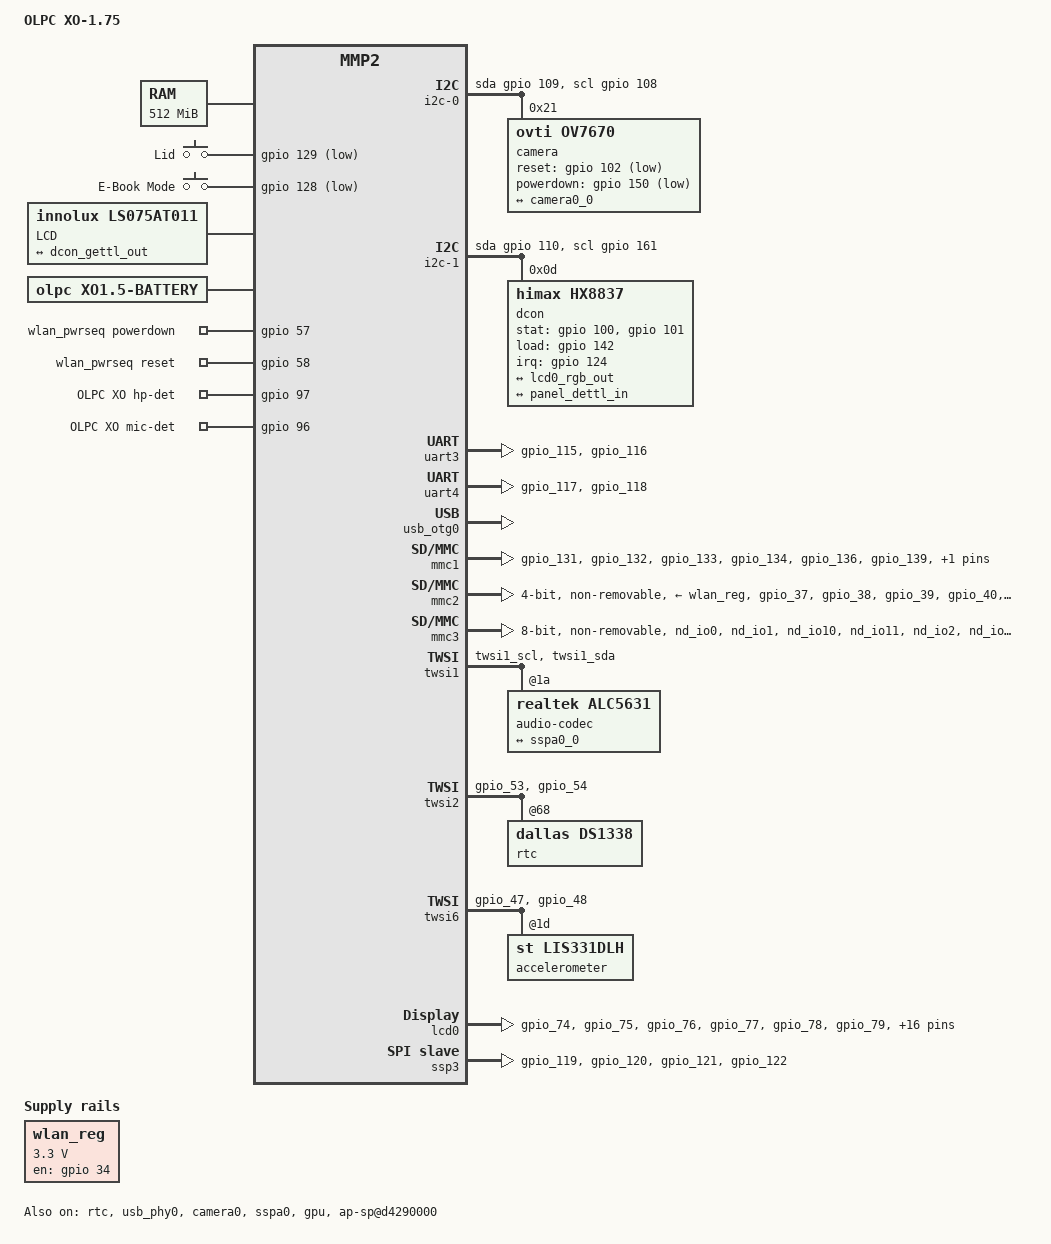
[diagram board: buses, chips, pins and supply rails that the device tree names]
// SPDX-License-Identifier: GPL-2.0-or-later OR MIT
/*
 * OLPC XO 1.75 Laptop.
 *
 * Copyright (C) 2018,2019,2020 Lubomir Rintel <lkundrak@v3.sk>
 */

/dts-v1/;
#include "mmp2.dtsi"
#include <dt-bindings/gpio/gpio.h>
#include <dt-bindings/input/linux-event-codes.h>
#include <dt-bindings/interrupt-controller/irq.h>
#include <dt-bindings/clock/marvell,mmp2-audio.h>

/ {
	model = "OLPC XO-1.75";
	compatible = "olpc,xo-1.75", "mrvl,mmp2";

	chosen {
		#address-cells = <1>;
		#size-cells = <1>;
		ranges;
		bootargs = "console=tty0 earlyprintk=ttyS2,115200,keep console=ttyS2,115200 root=/dev/sda3 fbcon=nodefer rootwait   lockless_register_fb no_console_suspend ignore_loglevel  pm_debug_messages";

		framebuffer@1fc00000 {
			compatible = "simple-framebuffer";
			reg = <0x1fc00000 (1200 * 900 * 2)>;
			width = <1200>;
			height = <900>;
			stride = <(1200 * 2)>;
			format = "r5g6b5";
			display = <&lcd0>;
			clocks = <&soc_clocks MMP2_CLK_DISP0_LCDC>,
				 <&soc_clocks MMP2_CLK_DISP0>;
		};
	};

	memory@0 {
		available = <0xcf000 0x1ef31000 0x1000 0xbf000>;
		reg = <0x0 0x20000000>;
		device_type = "memory";
	};

	gpio-keys {
		compatible = "gpio-keys";

		lid {
			label = "Lid";
			gpios = <&gpio 129 GPIO_ACTIVE_LOW>;
			linux,input-type = <EV_SW>;
			linux,code = <SW_LID>;
			wakeup-source;
		};

		tablet_mode {
			label = "E-Book Mode";
			gpios = <&gpio 128 GPIO_ACTIVE_LOW>;
			linux,input-type = <EV_SW>;
			linux,code = <SW_TABLET_MODE>;
			wakeup-source;
		};
	};

	i2c-0 {
		compatible = "i2c-gpio";
		sda-gpios = <&gpio 109 (GPIO_ACTIVE_HIGH | GPIO_OPEN_DRAIN)>;
		scl-gpios = <&gpio 108 (GPIO_ACTIVE_HIGH | GPIO_OPEN_DRAIN)>;
		#address-cells = <1>;
		#size-cells = <0>;
		i2c-gpio,timeout-ms = <1000>;
		status = "okay";

		camera@21 {
			compatible = "ovti,ov7670";
			reg = <0x21>;
			reset-gpios = <&gpio 102 GPIO_ACTIVE_LOW>;
			powerdown-gpios = <&gpio 150 GPIO_ACTIVE_LOW>;
			clocks = <&camera0>;
			clock-names = "xclk";

			port {
				ov7670_0: endpoint {
					hsync-active = <1>;
					vsync-active = <1>;
					remote-endpoint = <&camera0_0>;
				};
			};
		};
	};

	i2c-1 {
		compatible = "i2c-gpio";
		sda-gpios = <&gpio 110 (GPIO_ACTIVE_HIGH | GPIO_OPEN_DRAIN)>;
		scl-gpios = <&gpio 161 (GPIO_ACTIVE_HIGH | GPIO_OPEN_DRAIN)>;
		#address-cells = <1>;
		#size-cells = <0>;
		i2c-gpio,timeout-ms = <1000>;
		status = "okay";

		dcon@d {
			compatible = "himax,hx8837";
			stat-gpios = <&gpio 100 GPIO_ACTIVE_HIGH>,
				     <&gpio 101 GPIO_ACTIVE_HIGH>;
			load-gpio = <&gpio 142 GPIO_ACTIVE_HIGH>;
			interrupt-parent= <&gpio>;
			interrupts = <124 IRQ_TYPE_EDGE_FALLING>;
			reg = <0x0d>;
			status = "okay";

			ports {
				#address-cells = <1>;
				#size-cells = <0>;

				port@0 {
					reg = <0>;
					dcon_rgb_in: endpoint {
						remote-endpoint = <&lcd0_rgb_out>;
					};
				};

				port@1 {
					reg = <1>;
					dcon_gettl_out: endpoint {
						remote-endpoint = <&panel_dettl_in>;
					};
				};
			};
		};
	};

	panel {
		compatible = "innolux,ls075at011", "panel-dpi", "simple-panel";
		width-mm = <152>;
		height-mm = <115>;
		label = "LCD";

		panel-timing {
			clock-frequency = <56000000 57000000 58000000>;
			hactive = <1200>;
			vactive = <900>;
			hfront-porch = <26>;
			hback-porch = <24>;
			hsync-len = <6>;
			vfront-porch = <4>;
			vback-porch = <5>;
			vsync-len = <3>;
		};

		port {
			panel_dettl_in: endpoint {
				remote-endpoint = <&dcon_gettl_out>;
			};
		};
	};

	battery {
		compatible = "olpc,xo1.5-battery", "olpc,xo1-battery";
	};

	wlan_reg: fixedregulator0 {
		compatible = "regulator-fixed";
		regulator-name = "wlan";
		regulator-min-microvolt = <3300000>;
		regulator-max-microvolt = <3300000>;
		gpio = <&gpio 34 GPIO_ACTIVE_HIGH>;
		enable-active-high;
	};

	wlan_pwrseq: pwrseq0 {
		compatible = "mmc-pwrseq-sd8787";
		powerdown-gpios = <&gpio 57 GPIO_ACTIVE_HIGH>;
		reset-gpios = <&gpio 58 GPIO_ACTIVE_HIGH>;
	};

	sound-card {
		compatible = "audio-graph-card";
		label = "OLPC XO";
		dais = <&sspa0_dai>;
		routing = "Headphones", "HPOL",
			  "Headphones", "HPOR",
			  "MIC2", "Mic Jack";
		widgets = "Headphone", "Headphones", "Microphone", "Mic Jack";
		hp-det-gpio = <&gpio 97 GPIO_ACTIVE_HIGH>;
		mic-det-gpio = <&gpio 96 GPIO_ACTIVE_HIGH>;
	};

	soc {
		axi@d4200000 {
			ap-sp@d4290000 {
				#address-cells = <1>;
				#size-cells = <0>;
				compatible = "olpc,ap-sp";
				interrupts = <40>;
				reg = <0xd4290000 0x1000>;
				data-gpios = <&gpio 72 GPIO_ACTIVE_HIGH>;
				clk-gpios = <&gpio 71 GPIO_ACTIVE_HIGH>;
				status = "okay";
			};
		};
	};

	reserved-memory {
		#address-cells = <1>;
		#size-cells = <1>;
		ranges;

		display_reserved: framebuffer {
			compatible = "marvell,mmp2-framebuffer",
				     "marvell,armada-framebuffer";
			size = <0x02000000>;
			alignment = <0x02000000>;
			no-map;
		};
	};
};

&uart3 {
	status = "okay";
	pinctrl-names = "default";
	pinctrl-0 = <&uart3_pins>;
};

&uart4 {
	status = "okay";
	pinctrl-names = "default";
	pinctrl-0 = <&uart4_pins>;
};

&rtc {
	status = "okay";
};

&usb_phy0 {
	status = "okay";
};

&usb_otg0 {
	status = "okay";
};

&mmc1 {
	status = "okay";
	pinctrl-names = "default";
	pinctrl-0 = <&mmc1_pins>;
	clock-frequency = <50000000>;
	no-1-8-v;
	mrvl,clk-delay-cycles = <31>;
	broken-cd;
};

&mmc2 {
	status = "okay";
	pinctrl-names = "default";
	pinctrl-0 = <&mmc2_pins>;
	clock-frequency = <50000000>;
	no-1-8-v;
	bus-width = <4>;
	non-removable;
	broken-cd;
	wakeup-source;
	keep-power-in-suspend;
	mmc-pwrseq = <&wlan_pwrseq>;
	vmmc-supply = <&wlan_reg>;
};

&mmc3 {
	status = "okay";
	pinctrl-names = "default";
	pinctrl-0 = <&mmc3_pins>;
	clock-frequency = <50000000>;
	no-1-8-v;
	bus-width = <8>;
	non-removable;
	broken-cd;
	mrvl,clk-delay-cycles = <31>;
};

&twsi1 {
	status = "okay";
	pinctrl-names = "default";
	pinctrl-0 = <&twsi1_pins>;

	audio-codec@1a {
		compatible = "realtek,alc5631";
		reg = <0x1a>;
		status = "okay";

		port {
			rt5631_0: endpoint {
				mclk-fs = <256>;
				clocks = <&audio_clk MMP2_CLK_AUDIO_SYSCLK>;
				remote-endpoint = <&sspa0_0>;
			};
		};
	};
};

&twsi2 {
	status = "okay";
	pinctrl-names = "default";
	pinctrl-0 = <&twsi2_pins>;

	rtc@68 {
		compatible = "dallas,ds1338";
		reg = <0x68>;
		status = "okay";
	};
};

&twsi6 {
	status = "okay";
	pinctrl-names = "default";
	pinctrl-0 = <&twsi6_pins>;

	accelerometer@1d {
		compatible = "st,lis331dlh", "st,lis3lv02d";
		reg = <0x1d>;
		status = "okay";
	};
};

&lcd0 {
	status = "okay";
	pinctrl-names = "default";
	pinctrl-0 = <&lcd0_pins>;
};

&lcd0_rgb_out {
	bus-width = <18>;
	remote-endpoint = <&dcon_rgb_in>;
};

&ssp3 {
	status = "okay";
	pinctrl-names = "default";
	pinctrl-0 = <&ssp3_pins>;
	#address-cells = <0>;
	spi-slave;
	ready-gpios = <&gpio 125 GPIO_ACTIVE_HIGH>;

	slave {
		compatible = "olpc,xo1.75-ec";
		spi-cpha;
		cmd-gpios = <&gpio 155 GPIO_ACTIVE_HIGH>;
	};
};

&camera0 {
	status = "okay";
	pinctrl-names = "default";
	pinctrl-0 = <&camera0_pins>;

	port {
		camera0_0: endpoint {
			remote-endpoint = <&ov7670_0>;
		};
	};
};

&asram {
	status = "okay";
};

&adma0 {
	status = "okay";
};

&audio_clk {
	status = "okay";
};

&sspa0 {
	status = "okay";
	pinctrl-names = "default";
	pinctrl-0 = <&sspa0_pins>;
	dmas = <&adma0 0>, <&adma0 1>;
	dma-names = "tx", "rx";

	sspa0_dai: port {
		sspa0_0: endpoint {
			remote-endpoint = <&rt5631_0>;
			frame-master;
			bitclock-master;
			dai-format = "i2s";
		};
	};
};

&gpu {
	status = "okay";
};

&pinctrl {
	uart3_pins: uart3-pins {
		pins = "gpio_115", "gpio_116";
		function = "uart3";
	};

	uart4_pins: uart4-pins {
		pins = "gpio_117", "gpio_118";
		function = "uart4";
	};

	mmc1_pins: mmc1-pins {
		mmc1-data {
			pins = "gpio_131", "gpio_132", "gpio_133", "gpio_134";
			function = "mmc1";
			slew-rate = <3>;
			marvell,sleep-output = <0>;
		};

		mmc1-cmd {
			pins = "gpio_136";
			function = "mmc1";
			slew-rate = <3>;
			marvell,sleep-output = <1>;
		};

		mmc1-clk {
			pins = "gpio_139";
			function = "mmc1";
			slew-rate = <3>;
			marvell,sleep-output = <0>;
		};

		mmc1-wp {
			pins = "gpio_141";
			function = "mmc1";
			bias-pull-up;
			marvell,sleep-input;
		};
	};

	mmc2_pins: mmc2-pins {
		mmc2-data-pins {
			pins = "gpio_37", "gpio_38", "gpio_39", "gpio_40";
			function = "mmc2";
			marvell,sleep-input;
		};

		mmc2-cmd-pins {
			pins = "gpio_41";
			function = "mmc2";
			marvell,sleep-output = <0>;
		};

		mmc2-clk-pins {
			pins = "gpio_42";
			function = "mmc2";
			marvell,sleep-output = <0>;
		};
	};

	mmc3_pins: mmc3-pins {
		pins = "nd_io0", "nd_io1", "nd_io10", "nd_io11", "nd_io2",
		       "nd_io3", "nd_io8", "nd_io9", "sm_sclk", "nd_rdy0";
		function = "mmc3";
		marvell,sleep-input;
		slew-rate = <3>;
	};

	twsi1_pins: twsi1-pins {
		pins = "twsi1_scl", "twsi1_sda";
		bias-pull-up;
		marvell,sleep-input;
		slew-rate = <2>;
	};

	twsi2_pins: twsi2-pins {
		pins = "gpio_53", "gpio_54";
		function = "twsi2";
		marvell,sleep-output = <1>;
		//XXX-TWSI;
	};

	twsi6_pins: twsi6-pins {
		pins = "gpio_47", "gpio_48";
		function = "twsi6";
		bias-pull-up;
		marvell,sleep-output = <1>;
	};

	lcd0_pins: lcd0-pins {
		pins = "gpio_74", "gpio_75", "gpio_76", "gpio_77",
		       "gpio_78", "gpio_79", "gpio_80", "gpio_81",
		       "gpio_82", "gpio_83", "gpio_84", "gpio_85",
		       "gpio_86", "gpio_87", "gpio_88", "gpio_89",
		       "gpio_90", "gpio_91", "gpio_92", "gpio_93",
		       "gpio_94", "gpio_95";
		function = "lcd";
		marvell,sleep-output = <0>;
	};

	ssp3_pins: ssp3-pins {
		ssp3-clk-pins {
			pins = "gpio_119";
			function = "ssp3";
			marvell,sleep-output = <0>;
		};

		ssp3-frm-pins {
			pins = "gpio_120";
			function = "ssp3";
			marvell,sleep-output = <1>;
		};

		ssp3-rxd-pins {
			pins = "gpio_121";
			function = "ssp3";
			marvell,sleep-output = <0>;
		};

		ssp3-txd-pins {
			pins = "gpio_122";
			function = "ssp3";
			marvell,sleep-input;
		};
	};

	camera0_pins: camera0-pins {
		camera0-data-pins {
			pins = "gpio_59", "gpio_60", "gpio_61", "gpio_62",
			       "gpio_63", "gpio_64", "gpio_65", "gpio_66";
			function = "ccic";
			marvell,sleep-output = <0>;
		};

		camera0-sync-pins {
			pins = "gpio_67", "gpio_68";
			function = "ccic";
			marvell,sleep-input;
		};

		camera0-clk-pins {
			pins = "gpio_69", "gpio_70";
			function = "ccic";
			marvell,sleep-output = <0>;
		};
	};

	sspa0_pins: sspa0-pins {
		sspa0-clk-pins {
			pins = "gpio_24", "gpio_25";
			function = "i2s";
			marvell,sleep-output = <1>;
		};

		sspa0-sync-pins {
			pins = "gpio_26";
			function = "i2s";
			marvell,sleep-output = <0>;
		};

		sspa0-dout-pins {
			pins = "gpio_27";
			function = "i2s";
			marvell,sleep-output = <1>;
		};

		sspa0-din-pins {
			pins = "gpio_28";
			function = "i2s";
			marvell,sleep-input;
		};
	};
};
